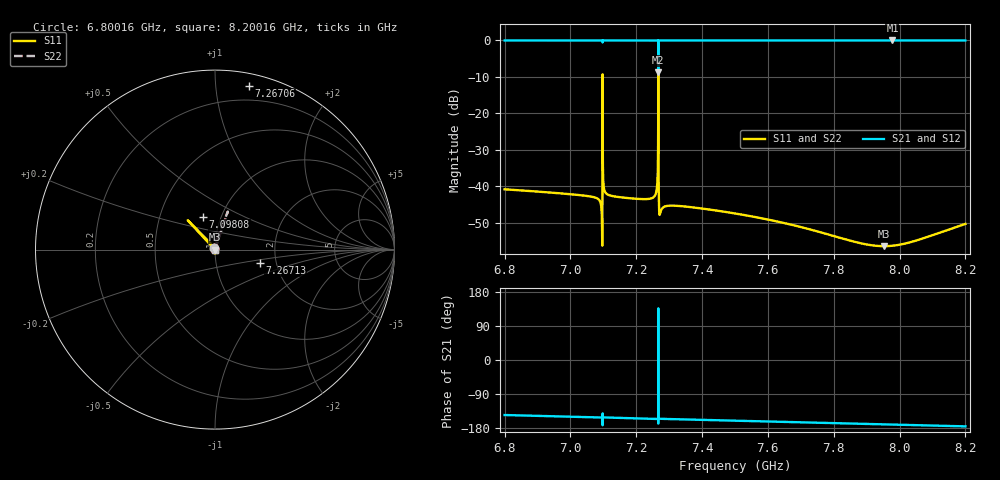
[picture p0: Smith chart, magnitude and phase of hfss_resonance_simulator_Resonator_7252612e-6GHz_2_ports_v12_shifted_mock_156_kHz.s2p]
! Touchstone file exported from HFSS 2024.1.0
!  File:  C:/Users/alex_0000/Desktop/hfss_resonance_simulator (1).aedt
!  Generated:  06:27:55 PM Jun  4, 2025
!  Design:  hfssO1XZ3E2
!  Project:  hfss_resonance_simulator (1)
!  Setup:  Setup1
!  Solution:  Sweep
! Created with skrf (http://scikit-rf.org).
# GHz S RI R 50.0
! Port[1] = 1
! Port[2] = 2
!freq ReS11 ImS11 ReS21 ImS21 ReS12 ImS12 ReS22 ImS22
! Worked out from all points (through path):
!   20001 points, 6.80016 GHz to 8.20016 GHz, reference 50 ohm
!   highest |S21| = 0.00 dB at 7.97833 GHz (marker M1); lowest = -8.7 dB at 7.26706 GHz (marker M2)
!   lowest |S11| = -56.5 dB at 7.95285 GHz (marker M3), VSWR 1.00, Z = 50.1 + j0.0397 ohm
!   |S11| at or under -10 dB: start of sweep to 7.098 GHz; 7.09802 GHz to 7.267 GHz (169 MHz wide, 2.35 % of centre); 7.26712 GHz to end of sweep
!   |S22| runs from -56.5 to -0.6 dB; largest |S21 - S12| = 1.1e-11
!   S11 on the Smith chart (normalised r, x): 6.80016 GHz: 0.99, +0.02; 7.09808 GHz: 0.82, +0.31; 7.26706 GHz: 0.09, +1.23; 7.26713 GHz: 1.63, -0.27; 8.20016 GHz: 1.00, -0.00
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6.800156  -0.00444 0.00791  -0.8209 -0.571  -0.8209 -0.571  -0.00587 0.00691
7.033536  -0.00292 0.00691  -0.8675 -0.4974  -0.8675 -0.4974  -0.00449 0.00602
7.080366  -0.00259 0.00634  -0.8763 -0.4818  -0.8763 -0.4818  -0.00397 0.00558
7.090376  -0.00243 0.00565  -0.8784 -0.4779  -0.8784 -0.4779  -0.00343 0.00511
7.098076  -0.066 0.1817  -0.7604 -0.62  -0.7604 -0.62  -0.1647 0.1013
7.104446  -0.00275 0.00807  -0.8797 -0.4755  -0.8797 -0.4755  -0.00525 0.00673
7.108226  -0.00265 0.00756  -0.8806 -0.4738  -0.8806 -0.4738  -0.00485 0.00637
7.121106  -0.0025 0.00702  -0.8831 -0.4692  -0.8831 -0.4692  -0.00442 0.006
7.236396  -0.00214 0.00633  -0.9028 -0.4301  -0.9028 -0.4301  -0.00356 0.00565
7.255506  -0.0028 0.00672  -0.9062 -0.4228  -0.9062 -0.4228  -0.00335 0.00647
7.261456  -0.00408 0.00757  -0.9078 -0.4193  -0.9078 -0.4193  -0.00312 0.00801
7.266846  -0.0637 0.0547  -0.9346 -0.3457  -0.9346 -0.3457  0.0128 0.083
7.267056  0.19 0.9113  -0.265 0.2513  -0.265 0.2513  0.8999 0.2382
7.267126  0.2481 -0.0768  -0.7381 -0.6227  -0.7381 -0.6227  0.0339 -0.2575
7.276226  0.000121 0.00473  -0.9081 -0.4188  -0.9081 -0.4188  -0.00368 0.00298
7.317106  -0.000931 0.00532  -0.915 -0.4035  -0.915 -0.4035  -0.0033 0.00427
7.500156  -0.000215 0.00422  -0.9405 -0.3398  -0.9405 -0.3398  -0.00253 0.00338
7.733536  0.000751 0.0024  -0.9665 -0.2566  -0.9665 -0.2566  -0.00184 0.00171
7.952846  0.00145 0.000396  -0.9843 -0.1765  -0.9843 -0.1765  -0.0015 -0.000133
7.966846  0.00149 0.000257  -0.9852 -0.1713  -0.9852 -0.1713  -0.00149 -0.00026
7.978326  0.00152 0.000143  -0.9859 -0.1671  -0.9859 -0.1671  -0.00148 -0.000365
8.200156  0.00198 -0.0023  -0.9964 -0.0845  -0.9964 -0.0845  -0.00156 -0.0026
